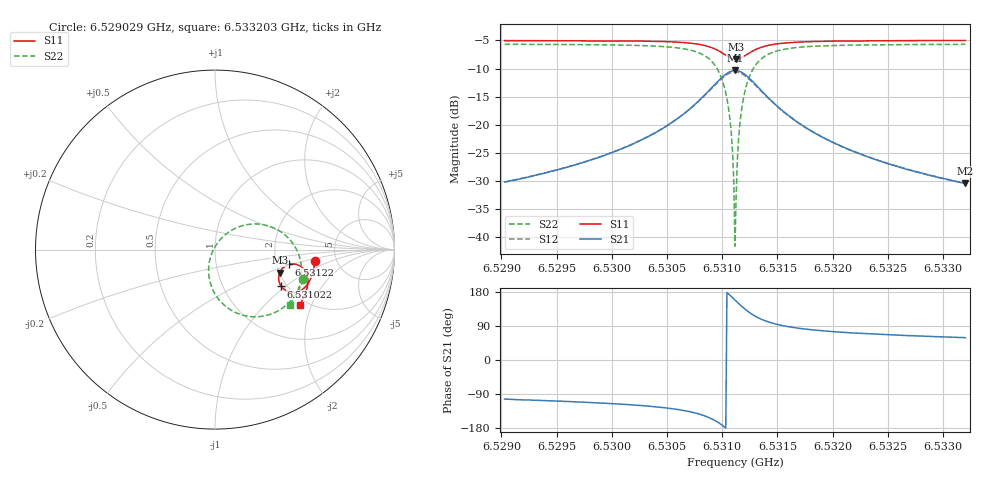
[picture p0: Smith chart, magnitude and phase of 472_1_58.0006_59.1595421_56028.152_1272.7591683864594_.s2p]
#  HZ  S  RI  R  50.00
! Rohde & Schwarz Vector Network Analyzer
! Rohde-Schwarz,ZNB20-2Port,1311601062101988,3.16
! Created: UTC 3/21/2024, 1:11:24 AM
! freq[Hz]  re:S11  im:S11  re:S21  im:S21  re:S12  im:S12  re:S22  im:S22
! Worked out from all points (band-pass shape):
!   401 points, 6.529029 GHz to 6.533203 GHz, reference 50 ohm
!   highest |S21| = -10.34 dB at 6.531116 GHz (marker M1); lowest = -30.5 dB at 6.533203 GHz (marker M2)
!   |S21| within 3 dB of the highest: 6.530909 GHz to 6.531327 GHz (417.9 kHz wide, 0.0064 % of centre)
!   lowest |S11| = -8.3 dB at 6.531126 GHz (marker M3), VSWR 2.24, Z = 100 - j30.2 ohm
!   |S11| at or under -10 dB: nowhere
!   |S22| runs from -41.6 to -5.7 dB; largest |S21 - S12| = 0.012
!   S11 on the Smith chart (normalised r, x): 6.529029 GHz: 3.43, -0.62; 6.531022 GHz: 1.87, -0.93; 6.53122 GHz: 2.34, -0.47; 6.533203 GHz: 1.82, -1.64
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6.5290291e9  0.5576 -0.0622  -0.00702 -0.0301  -0.00777 -0.0299  0.4929 -0.1657
6.5297281e9  0.5469 -0.1201  -0.0165 -0.0426  -0.0174 -0.0424  0.4623 -0.2306
6.5304272e9  0.5184 -0.1887  -0.05 -0.0732  -0.052 -0.0719  0.3816 -0.3217
6.5306672e9  0.4913 -0.2185  -0.0892 -0.0922  -0.0921 -0.0894  0.3017 -0.3626
6.5308445e9  0.448 -0.2374  -0.1566 -0.0987  -0.159 -0.0923  0.1767 -0.3702
6.5309489e9  0.4038 -0.232  -0.2252 -0.0724  -0.2247 -0.0632  0.0594 -0.3162
6.5310219e9  0.3694 -0.205  -0.2762 -0.0147  -0.2706 -0.005  -0.0177 -0.2106
6.5310637e9  0.3568 -0.1774  -0.292 0.0376  -0.2833 0.0455  -0.0357 -0.1209
6.5310845e9  0.3546 -0.1612  -0.2926 0.0674  -0.2828 0.0737  -0.0322 -0.0719
6.531095e9  0.3547 -0.1529  -0.2909 0.0825  -0.2807 0.0877  -0.0267 -0.0472
6.5311054e9  0.3559 -0.1445  -0.2875 0.0976  -0.277 0.102  -0.0187 -0.0231
6.5311158e9  0.3579 -0.1362  -0.2826 0.1121  -0.2719 0.1156  -0.00829 0.000465
6.5311263e9  0.3608 -0.1282  -0.2762 0.1264  -0.2655 0.129  0.00423 0.0226
6.5311367e9  0.3645 -0.1206  -0.2686 0.1399  -0.2581 0.1414  0.019 0.0435
6.5311471e9  0.3689 -0.1135  -0.2597 0.1524  -0.2495 0.153  0.0354 0.0627
6.531168e9  0.3798 -0.1012  -0.2391 0.1741  -0.2296 0.1731  0.0726 0.095
6.5312202e9  0.4126 -0.0829  -0.1792 0.2059  -0.1726 0.203  0.1769 0.1389
6.5312932e9  0.4553 -0.0833  -0.1042 0.2082  -0.1008 0.2053  0.3033 0.1301
6.5313975e9  0.4924 -0.1058  -0.0397 0.1775  -0.0382 0.1759  0.4088 0.064
6.5318149e9  0.5176 -0.1855  0.0157 0.0855  0.0168 0.0854  0.4826 -0.1278
6.5325139e9  0.498 -0.2569  0.0178 0.0409  0.0186 0.0408  0.4547 -0.2448
6.5332026e9  0.471 -0.3081  0.0155 0.0257  0.0161 0.0255  0.42 -0.306
